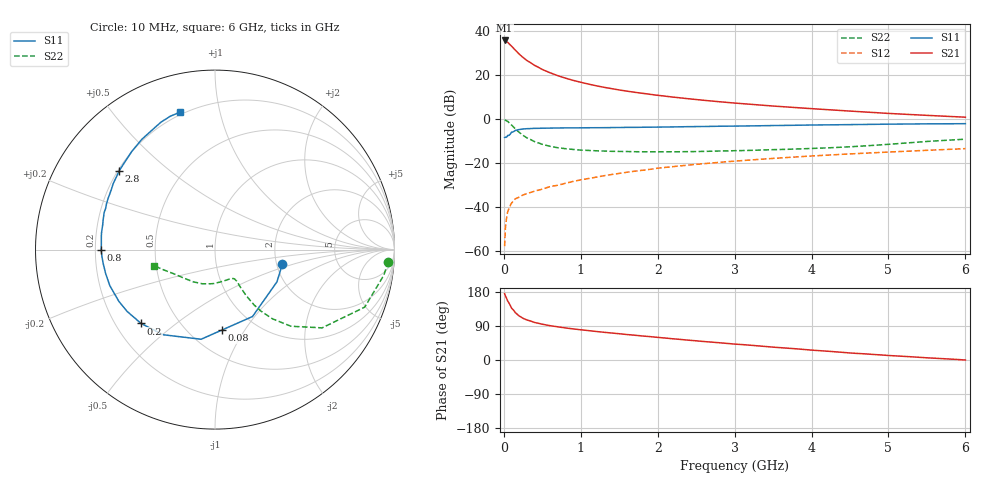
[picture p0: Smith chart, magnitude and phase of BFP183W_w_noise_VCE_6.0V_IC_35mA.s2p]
! Infineon Technologies  Discrete & RF Semiconductors
! BFP183W
! VCE =  6.0 V,  IC =  35 mA
! Common Emitter S-Parameters:  Jan 2017
# GHz  S  MA  R  50
!  f  S11  S21  S12  S22
! GHz  MAG  ANG  MAG  ANG  MAG  ANG  MAG  ANG
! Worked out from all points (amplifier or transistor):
!   77 points, 10 MHz to 6 GHz, reference 50 ohm
!   highest |S21| = 35.8 dB at 10 MHz (marker M1)
!   |S21| within 3 dB of that: start of sweep to 111.8 MHz
!   unconditionally stable (mu >= 1): 895.3 MHz to 3.374 GHz
!   at 130 MHz: K = 0.33, MSG = 34.5 dB, |S12| = -36.9 dB
!   at 2.2 GHz: K = 1.06, MAG = 14.3 dB, |S12| = -21.6 dB
!   at 6 GHz: K = 0.86, MSG = 7.1 dB, |S12| = -13.4 dB
!   lowest NFmin = 1.51 dB at 450 MHz
!   S11 on the Smith chart (normalised r, x): 10 MHz: 2.15, -0.41; 80 MHz: 0.71, -0.80; 200 MHz: 0.31, -0.38; 800 MHz: 0.22, -0.00; 2.8 GHz: 0.21, +0.35; 6 GHz: 0.19, +0.76
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0.01  0.3839 -12.4  61.56 175.2  0.0013 80.7  0.9676 -4.0
0.02  0.3891 -27.5  60.47 169.6  0.0033 82.2  0.9514 -8.6
0.05  0.4274 -60.7  56.04 155.6  0.0078 68.3  0.8939 -21.0
0.08  0.4503 -85.3  49.29 145.4  0.0105 62.4  0.7938 -29.4
0.1  0.5054 -98.8  45.85 137.1  0.0124 60.0  0.7387 -36.2
0.15  0.5553 -121.3  36.9 124.8  0.0156 52.6  0.6002 -45.3
0.2  0.5821 -135.0  30.11 116.2  0.0169 51.0  0.5011 -50.3
0.25  0.5988 -144.9  25.23 110.0  0.019 48.3  0.4287 -53.2
0.3  0.6083 -151.8  21.56 105.6  0.0204 49.0  0.3761 -54.8
0.4  0.6195 -161.1  16.69 99.0  0.0231 51.0  0.3083 -55.9
0.5  0.6237 -167.6  13.5 94.4  0.0257 53.7  0.2684 -55.9
0.6  0.6274 -172.5  11.36 90.6  0.0294 55.4  0.242 -55.9
0.7  0.6311 -176.4  9.768 87.6  0.0315 58.4  0.2243 -55.4
0.8  0.6341 -179.9  8.584 84.6  0.0349 59.7  0.2138 -55.4
1.1  0.639 171.9  6.275 77.6  0.0448 62.5  0.195 -56.7
1.5  0.6475 163.4  4.618 69.3  0.0587 63.3  0.1848 -61.3
2.1  0.6639 151.8  3.331 57.9  0.0802 62.2  0.1813 -73.6
2.8  0.6912 140.5  2.493 45.5  0.1044 59.5  0.1892 -92.1
3.1  0.6998 136.0  2.255 40.6  0.1146 57.7  0.1937 -100.3
4.1  0.7398 122.4  1.692 24.7  0.1489 51.8  0.2193 -127.0
5.1  0.7733 112.1  1.325 10.8  0.1824 45.4  0.2764 -152.2
6  0.7904 104.1  1.109 0.0  0.2139 39.2  0.3514 -165.3
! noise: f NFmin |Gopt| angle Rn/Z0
0.45  1.51  0.29  -177  0.1
0.9  1.56  0.32  -176  0.1
1.9  2.05  0.47  -154  0.11
2.4  2.31  0.51  -151  0.16
